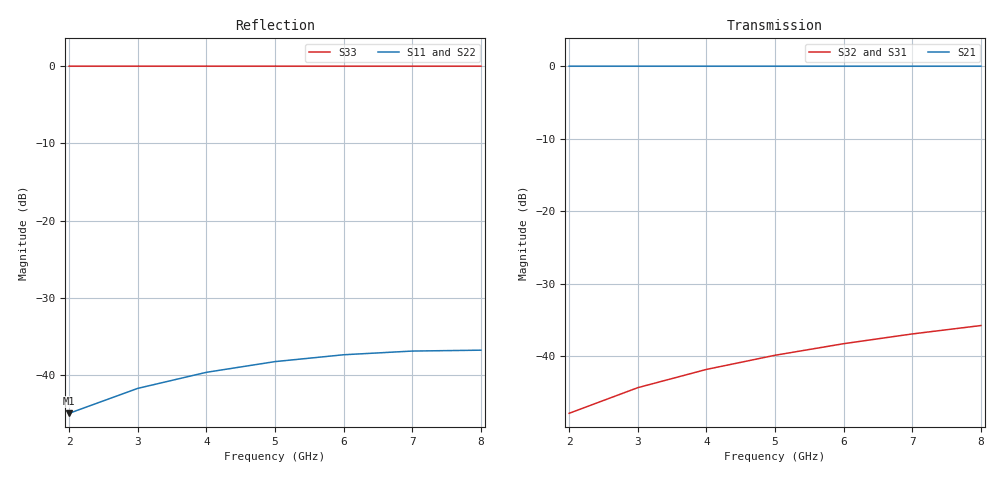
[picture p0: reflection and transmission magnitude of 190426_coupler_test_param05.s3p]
! Sonnet Data File
! From: emgraph Version : 16.56
! From Project: 190426_coupler_test
! Data is De-embedded
! Data File Written: 05/06/2019 15:59:44
!< HDATE 04/25/2019 10:48:44
!< MDATE 04/25/2019 10:59:35
!< PARAMS
!< tandelta = 0.0
!< t_aSi = 0.25
!< W = 10.0
!< Lcoupler = 400.0
!< END PARAMS
# GHZ S MA R 50.0 !  non standard terminations in data
! TERM 50.00000 0.000000 50.00000 0.000000 63.84000 0.000000
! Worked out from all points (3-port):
!   7 points, 2 GHz to 8 GHz, reference 50 ohm
!   strongest paths, dB at 2 GHz, 3 GHz, 5 GHz, 7 GHz, 8 GHz:
!     S21: 0.0, 0.0, 0.0, 0.0, 0.0
!     S32: -47.9, -44.3, -39.9, -36.9, -35.8
!     S31: -47.9, -44.4, -40.0, -37.0, -35.9
!   lowest |S11| = -45.0 dB at 2 GHz (marker M1), VSWR 1.01, Z = 50.2 + j0.518 ohm
!   |S11| at or under -10 dB: start of sweep to end of sweep
2  0.00565 66.0  1 -21.6  0.004026 64.6
   1 -21.6  0.005645 70.9  0.004034 86.5
   0.004026 64.6  0.004034 86.5  1 -7.6
3  0.008195 53.9  0.9999 -32.5  0.006037 51.8
   0.9999 -32.5  0.008177 61.4  0.006061 84.7
   0.006037 51.8  0.006061 84.7  1 -11.4
4  0.01041 41.8  0.9999 -43.3  0.008045 39.1
   0.9999 -43.3  0.01037 51.9  0.008098 82.8
   0.008045 39.1  0.008098 82.8  0.9999 -15.2
5  0.01221 29.5  0.9999 -54.1  0.01005 26.4
   0.9999 -54.1  0.01214 42.5  0.01014 80.9
   0.01005 26.4  0.01014 80.9  0.9999 -19.0
6  0.01353 17.2  0.9998 -64.9  0.01205 13.7
   0.9998 -64.9  0.0134 33.3  0.01219 79.0
   0.01205 13.7  0.01219 79.0  0.9999 -22.8
7  0.0143 4.7  0.9998 -75.8  0.01405 1.0
   0.9998 -75.8  0.01411 24.1  0.01423 77.0
   0.01405 1.0  0.01423 77.0  0.9998 -26.6
8  0.01448 -8.1  0.9998 -86.6  0.01603 -11.8
   0.9998 -86.6  0.01423 15.2  0.01626 75.0
   0.01603 -11.8  0.01626 75.0  0.9997 -30.4
